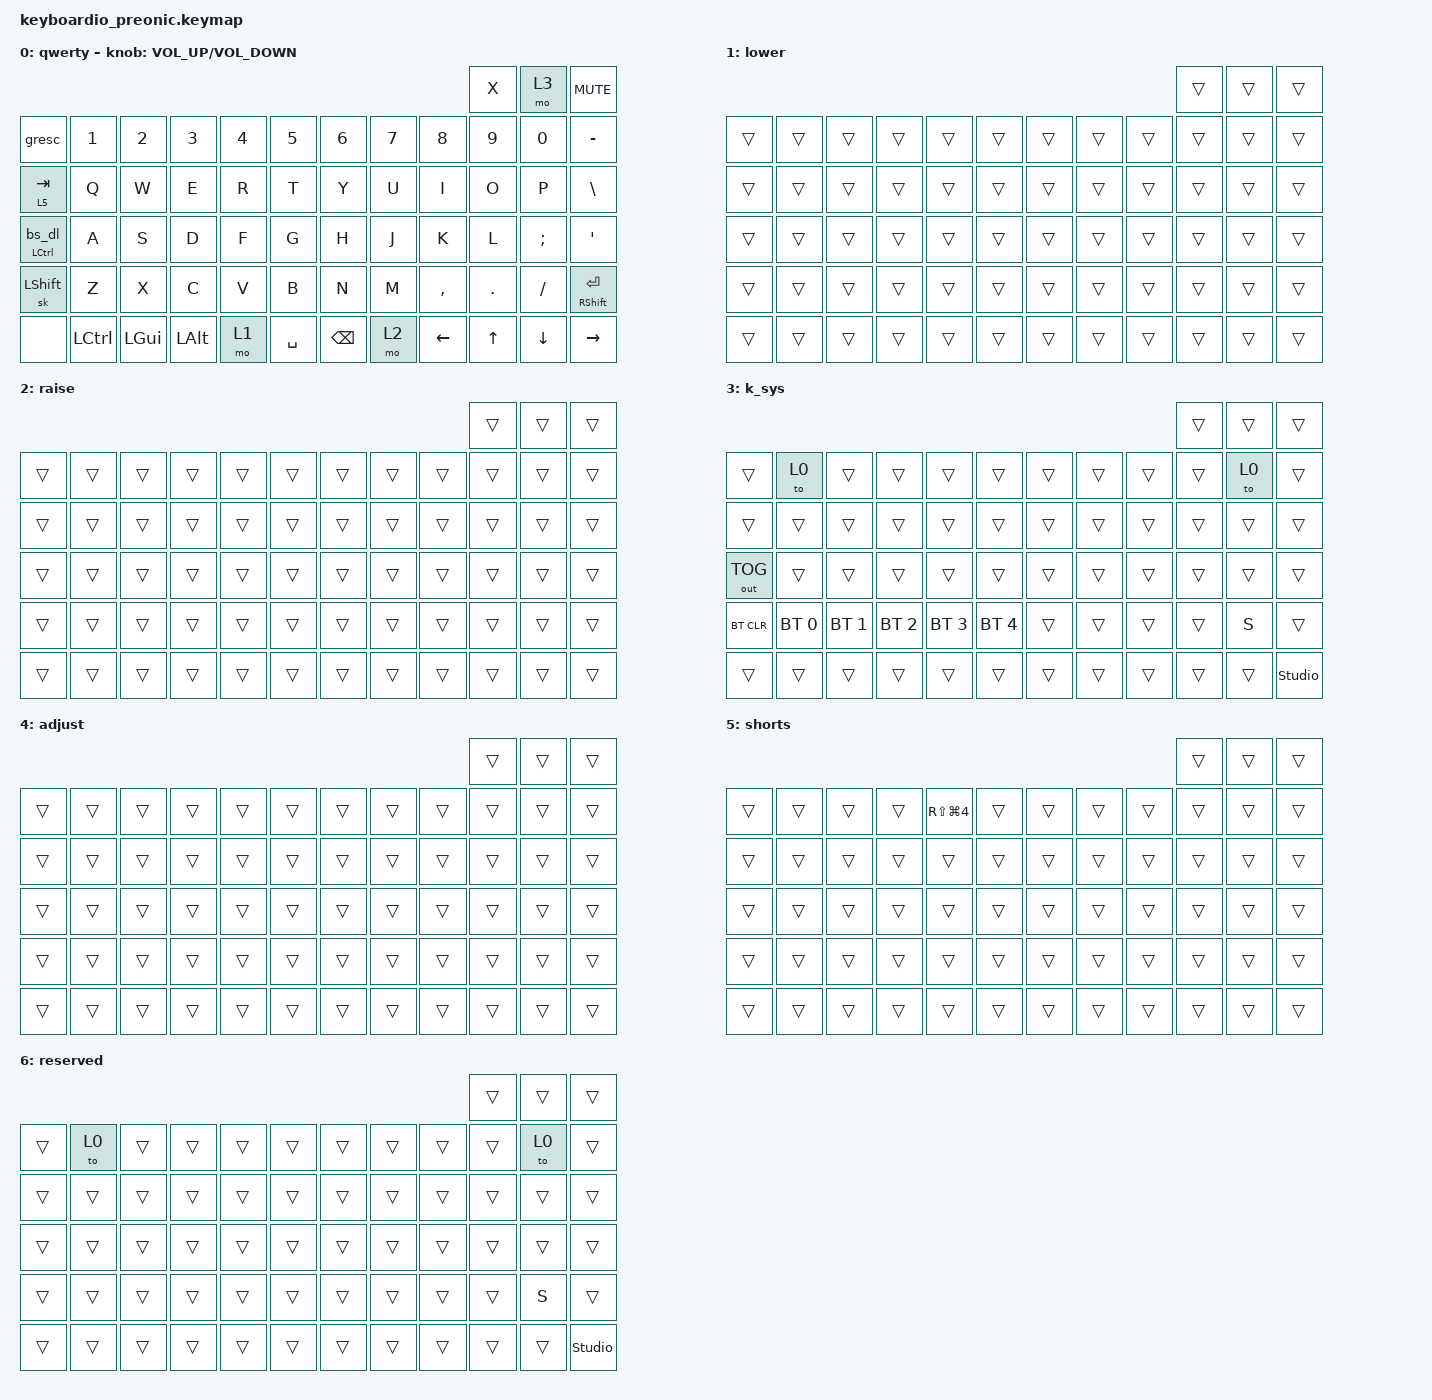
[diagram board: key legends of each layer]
/*
 * Copyright (c) 2022 Pete Johanson
 *
 * SPDX-License-Identifier: MIT
 */

#include <behaviors.dtsi>
#include <dt-bindings/zmk/bt.h>
#include <dt-bindings/zmk/keys.h>
#include <dt-bindings/zmk/outputs.h>

//#define PREONIC_ORTHO   1
//#define PREONIC_MIT     1

#define NAV_L 1
#define NUM_L 2
#define SYM_L 3

// Using layer taps on thumbs, having quick tap as well helps w/ repeating space/backspace

&lt { quick_tap_ms = <200>; };

#define BT(n) BT_SEL n

/ {
    /*#if defined(PREONIC_ORTHO)
    chosen {
       zmk,matrix_transform = &ortho_transform;
    };
#endif*/
    /*   sensors: sensors {
        compatible = "zmk,keymap-sensors";
        //sensors = <&right_encoder>;
        triggers-per-rotation = <20>;
    };*/

    combos {
        compatible = "zmk,combos";

        rpar {
            bindings = <&kp RPAR>;
            key-positions = <23 22>;
            layers = <0>;
        };

        lpar {
            bindings = <&kp LPAR>;
            key-positions = <18 19>;
            layers = <0>;
        };
    };

    behaviors {
        td_mt_esc_caps: tap_dance_mod_tap {
            compatible = "zmk,behavior-tap-dance";
            label = "TAP_DANCE_MOD_TAP";
            #binding-cells = <0>;
            tapping-term-ms = <200>;
            bindings = <&mt LSHFT ESC>, <&kp CAPSLOCK>;
        };

        bs_dl: bksp_delete {
            compatible = "zmk,behavior-mod-morph";
            label = "BKSP_DELETE";
            #binding-cells = <0>;
            bindings = <&kp BACKSPACE>, <&kp DEL>;

            mods = <(MOD_LSFT|MOD_RSFT)>;
        };

        bspc_del: backspace_delete {
            compatible = "zmk,behavior-mod-morph";
            label = "BACKSPACE_DELETE";
            #binding-cells = <0>;
            bindings = <&kp BACKSPACE>, <&kp DELETE>;

            mods = <(MOD_LSFT|MOD_RSFT)>;
            keep-mods = <0>;
        };

        mt_t: behavior_mod_tap_hold {
            compatible = "zmk,behavior-hold-tap";
            label = "MOD_TAP_HOLD";
            #binding-cells = <2>;
            flavor = "tap-preferred";
            tapping-term-ms = <300>;
            bindings = <&kp>, <&kp>;
        };

        mt_bs_del: mod_tap_bs_del {
            compatible = "zmk,behavior-hold-tap";
            label = "MOD_TAP_BS_DEL";
            #binding-cells = <2>;
            tapping-term-ms = <200>;
            quick-tap-ms = <0>;
            flavor = "tap-preferred";
            bindings = <&kp>, <&bs_dl>;
        };

        shift_caps: shift_caps {
            compatible = "zmk,behavior-tap-dance";
            label = "SHIFT_CAPS";
            #binding-cells = <0>;
            bindings = <&kp LSHFT>, <&kp CAPS>;
        };

        as: auto_shift {
            compatible = "zmk,behavior-hold-tap";
            label = "AUTO_SHIFT";
            #binding-cells = <2>;
            tapping-term-ms = <215>;
            quick-tap-ms = <195>;
            require-prior-idle-ms = <100>;
            flavor = "tap-preferred";
            bindings = <&kp>, <&kp>;

            /*quick_tap_ms = <0>;*/
        };

        hm: homerow_mods {
            compatible = "zmk,behavior-hold-tap";
            label = "HOMEROW_MODS";
            #binding-cells = <2>;
            tapping-term-ms = <215>;
            quick-tap-ms = <195>;
            require-prior-idle-ms = <100>;
            flavor = "tap-preferred";
            bindings = <&kp>, <&kp>;
        };
    };

    keymap {
        compatible = "zmk,keymap";

        qwerty {
            label = "qwerty";
            bindings = <
                                                                                                        &kp X    &mo 3     &kp K_MUTE
&gresc              &kp N1     &kp N2    &kp N3    &kp N4  &kp N5     &kp N6         &kp N7  &kp N8     &kp N9   &kp N0    &kp MINUS
&lt 5 TAB           &kp Q      &kp W     &kp E     &kp R   &kp T      &kp Y          &kp U   &kp I      &kp O    &kp P     &kp BSLH
&mt_bs_del LCTRL 0  &kp A      &kp S     &kp D     &kp F   &kp G      &kp H          &kp J   &kp K      &kp L    &kp SEMI  &kp SINGLE_QUOTE
&sk LSHFT           &kp Z      &kp X     &kp C     &kp V   &kp B      &kp N          &kp M   &kp COMMA  &kp DOT  &kp FSLH  &mt RSHIFT RET
&none               &kp LCTRL  &kp LGUI  &kp LALT  &mo 1   &kp SPACE  &kp BACKSPACE  &mo 2   &kp LEFT   &kp UP   &kp DOWN  &kp RIGHT
            >;

            sensor-bindings = <&inc_dec_kp K_VOLUME_UP K_VOLUME_DOWN>;
        };

        lower {
            bindings = <
                                                                        &trans  &trans  &trans
&trans  &trans  &trans  &trans  &trans  &trans  &trans  &trans  &trans  &trans  &trans  &trans
&trans  &trans  &trans  &trans  &trans  &trans  &trans  &trans  &trans  &trans  &trans  &trans
&trans  &trans  &trans  &trans  &trans  &trans  &trans  &trans  &trans  &trans  &trans  &trans
&trans  &trans  &trans  &trans  &trans  &trans  &trans  &trans  &trans  &trans  &trans  &trans
&trans  &trans  &trans  &trans  &trans  &trans  &trans  &trans  &trans  &trans  &trans  &trans
            >;

            label = "lower";
        };

        raise {
            bindings = <
                                                                        &trans  &trans  &trans
&trans  &trans  &trans  &trans  &trans  &trans  &trans  &trans  &trans  &trans  &trans  &trans
&trans  &trans  &trans  &trans  &trans  &trans  &trans  &trans  &trans  &trans  &trans  &trans
&trans  &trans  &trans  &trans  &trans  &trans  &trans  &trans  &trans  &trans  &trans  &trans
&trans  &trans  &trans  &trans  &trans  &trans  &trans  &trans  &trans  &trans  &trans  &trans
&trans  &trans  &trans  &trans  &trans  &trans  &trans  &trans  &trans  &trans  &trans  &trans
            >;

            label = "raise";
        };

        k_sys {
            bindings = <
                                                                                                            &trans  &trans  &trans
&trans        &to 0         &trans        &trans        &trans        &trans        &trans  &trans  &trans  &trans  &to 0   &trans
&trans        &trans        &trans        &trans        &trans        &trans        &trans  &trans  &trans  &trans  &trans  &trans
&out OUT_TOG  &trans        &trans        &trans        &trans        &trans        &trans  &trans  &trans  &trans  &trans  &trans
&bt BT_CLR    &bt BT_SEL 0  &bt BT_SEL 1  &bt BT_SEL 2  &bt BT_SEL 3  &bt BT_SEL 4  &trans  &trans  &trans  &trans  &kp S   &trans
&trans        &trans        &trans        &trans        &trans        &trans        &trans  &trans  &trans  &trans  &trans  &studio_unlock
            >;

            label = "k_sys";
        };

        adjust {
            bindings = <
                                                                        &trans  &trans  &trans
&trans  &trans  &trans  &trans  &trans  &trans  &trans  &trans  &trans  &trans  &trans  &trans
&trans  &trans  &trans  &trans  &trans  &trans  &trans  &trans  &trans  &trans  &trans  &trans
&trans  &trans  &trans  &trans  &trans  &trans  &trans  &trans  &trans  &trans  &trans  &trans
&trans  &trans  &trans  &trans  &trans  &trans  &trans  &trans  &trans  &trans  &trans  &trans
&trans  &trans  &trans  &trans  &trans  &trans  &trans  &trans  &trans  &trans  &trans  &trans
            >;

            label = "adjust";
        };

        shorts {
            bindings = <
                                                                                &trans  &trans  &trans
&trans  &trans  &trans  &trans  &kp RS(LG(N4))  &trans  &trans  &trans  &trans  &trans  &trans  &trans
&trans  &trans  &trans  &trans  &trans          &trans  &trans  &trans  &trans  &trans  &trans  &trans
&trans  &trans  &trans  &trans  &trans          &trans  &trans  &trans  &trans  &trans  &trans  &trans
&trans  &trans  &trans  &trans  &trans          &trans  &trans  &trans  &trans  &trans  &trans  &trans
&trans  &trans  &trans  &trans  &trans          &trans  &trans  &trans  &trans  &trans  &trans  &trans
            >;

            label = "shorts";
        };

        reserved {
            bindings = <
                                                                        &trans  &trans  &trans
&trans  &to 0   &trans  &trans  &trans  &trans  &trans  &trans  &trans  &trans  &to 0   &trans
&trans  &trans  &trans  &trans  &trans  &trans  &trans  &trans  &trans  &trans  &trans  &trans
&trans  &trans  &trans  &trans  &trans  &trans  &trans  &trans  &trans  &trans  &trans  &trans
&trans  &trans  &trans  &trans  &trans  &trans  &trans  &trans  &trans  &trans  &kp S   &trans
&trans  &trans  &trans  &trans  &trans  &trans  &trans  &trans  &trans  &trans  &trans  &studio_unlock
            >;

            label = "reserved";
        };
    };

    /*
    sensors: sensors {
        compatible = "zmk,keymap-sensors";
        sensors = <&encoder>;
        triggers-per-rotation = <20>;
    };
    */

    conditional_layers {
        compatible = "zmk,conditional-layers";

        sys {
            if-layers = <1 2>;
            then-layer = <3>;
        };
    };
};
